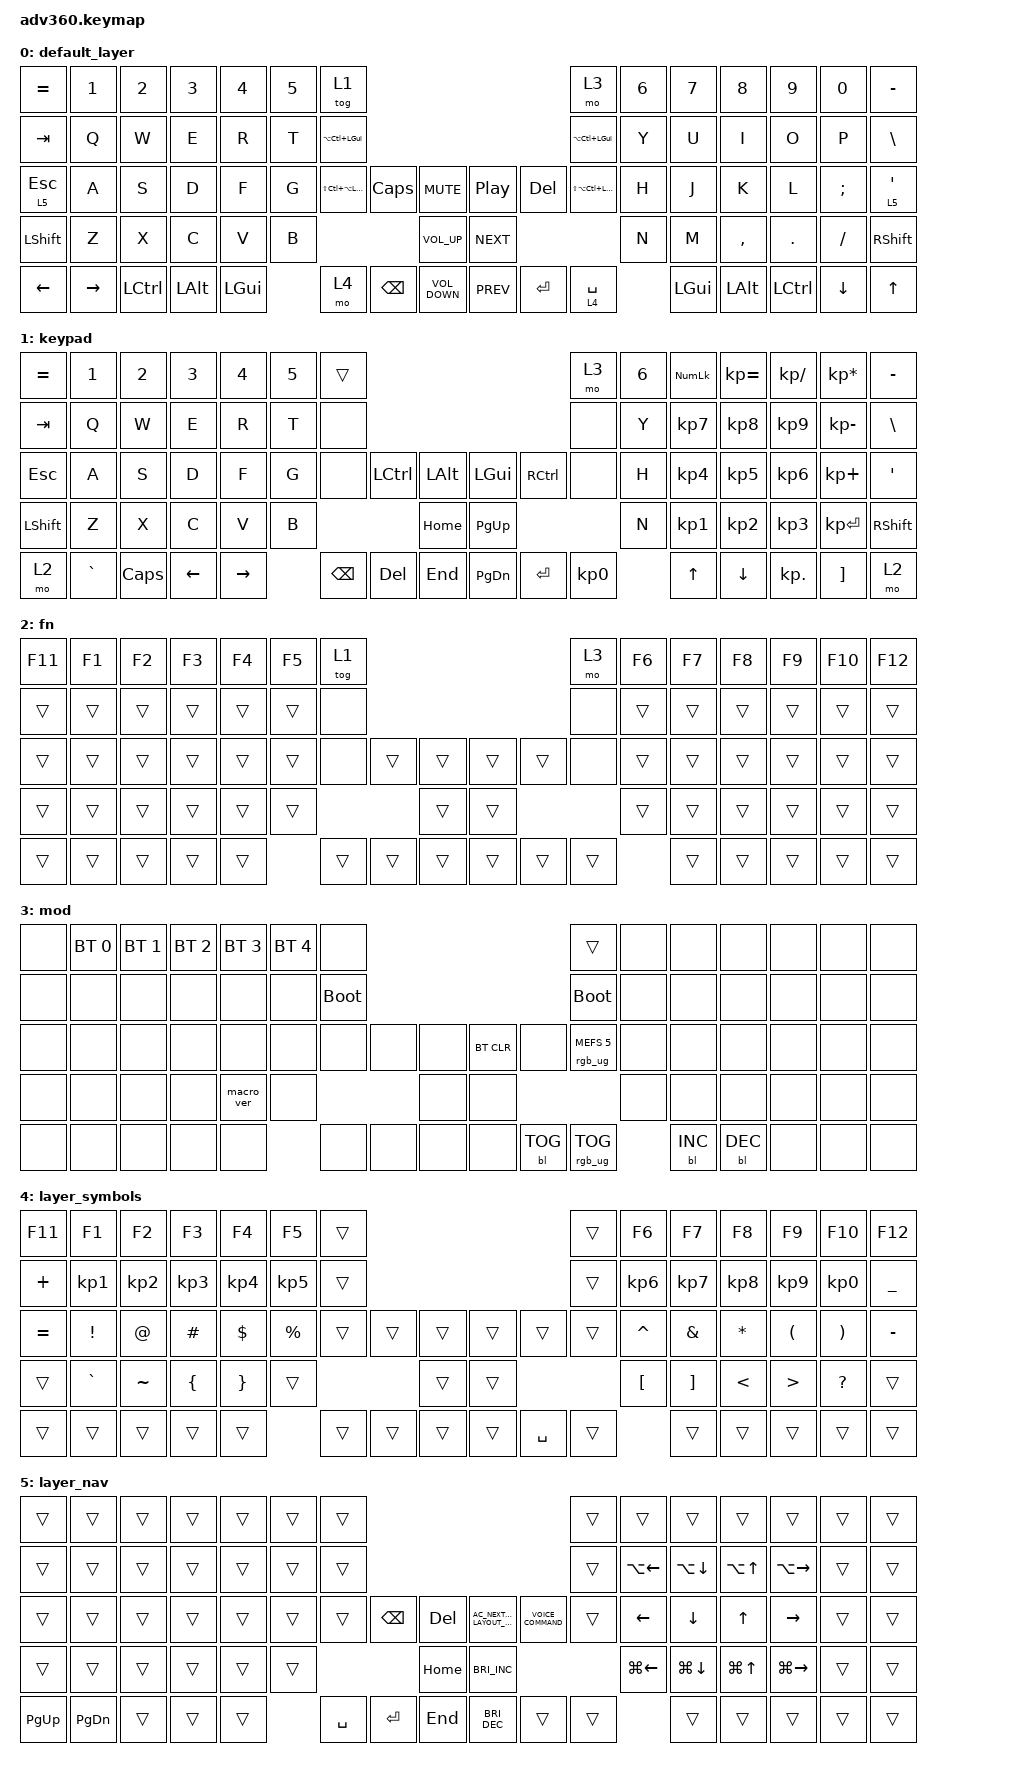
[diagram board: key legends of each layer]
#include <behaviors.dtsi>
#include <dt-bindings/zmk/backlight.h>
#include <dt-bindings/zmk/bt.h>
#include <dt-bindings/zmk/keys.h>
#include <dt-bindings/zmk/rgb.h>

/ {
    behaviors {
        #include "macros.dtsi"
      #include "version.dtsi"
      #ifndef VERSION_MACRO

        macro_ver: macro_ver {
            compatible = "zmk,behavior-macro";
            label = "macro_version";
            #binding-cells = <0>;
            bindings = <&kp RET>;
        };

        #endif

        hm: homerow_mods {
            compatible = "zmk,behavior-hold-tap";
            label = "HOMEROW_MODS";
            #binding-cells = <2>;
            tapping-term-ms = <200>;
            quick_tap_ms = <175>;
            flavor = "tap-preferred";
            bindings = <&kp>, <&kp>;
        };
    };

    macros {
    };

    keymap {
        compatible = "zmk,keymap";

        default_layer {
            bindings = <
&kp EQUAL       &kp N1           &kp N2     &kp N3        &kp N4        &kp N5  &tog 1                                                                                  &mo 3                     &kp N6  &kp N7        &kp N8        &kp N9     &kp N0          &kp MINUS
&kp TAB         &kp Q            &kp W      &kp E         &kp R         &kp T   &kp LA(LC(LEFT_GUI))                                                                    &kp LA(LC(LEFT_GUI))      &kp Y   &kp U         &kp I         &kp O      &kp P           &kp BSLH
&lt 5 ESCAPE    &kp A            &kp S      &kp D         &kp F         &kp G   &kp LS(LC(LA(LEFT_GUI)))  &kp CAPSLOCK   &kp C_MUTE             &kp C_PP    &kp DELETE  &kp LS(LA(LC(LEFT_GUI)))  &kp H   &kp J         &kp K         &kp L      &kp SEMI        &lt 5 SQT
&kp LSHFT       &kp Z            &kp X      &kp C         &kp V         &kp B                                            &kp C_VOLUME_UP        &kp C_NEXT                                        &kp N   &kp M         &kp COMMA     &kp DOT    &kp FSLH        &kp RSHFT
&kp LEFT_ARROW  &kp RIGHT_ARROW  &kp LCTRL  &kp LEFT_ALT  &kp LEFT_GUI          &mo 4                     &kp BACKSPACE  &kp C_VOLUME_DOWN      &kp C_PREV  &kp ENTER   &lt 4 SPACE                       &kp LEFT_GUI  &kp LEFT_ALT  &kp LCTRL  &kp DOWN_ARROW  &kp UP_ARROW
            >;
        };

        keypad {
            bindings = <
&kp EQUAL  &kp N1     &kp N2    &kp N3    &kp N4     &kp N5  &trans                                                   &mo 3      &kp N6  &kp KP_NUM  &kp KP_EQUAL  &kp KP_DIVIDE  &kp KP_MULTIPLY  &kp MINUS
&kp TAB    &kp Q      &kp W     &kp E     &kp R      &kp T   &none                                                    &none      &kp Y   &kp KP_N7   &kp KP_N8     &kp KP_N9      &kp KP_MINUS     &kp BSLH
&kp ESC    &kp A      &kp S     &kp D     &kp F      &kp G   &none     &kp LCTRL  &kp LALT      &kp LGUI   &kp RCTRL  &none      &kp H   &kp KP_N4   &kp KP_N5     &kp KP_N6      &kp KP_PLUS      &kp SQT
&kp LSHFT  &kp Z      &kp X     &kp C     &kp V      &kp B                        &kp HOME      &kp PG_UP                        &kp N   &kp KP_N1   &kp KP_N2     &kp KP_N3      &kp KP_ENTER     &kp RSHFT
&mo 2      &kp GRAVE  &kp CAPS  &kp LEFT  &kp RIGHT          &kp BSPC  &kp DEL    &kp END       &kp PG_DN  &kp ENTER  &kp KP_N0          &kp UP      &kp DOWN      &kp KP_DOT     &kp RBKT         &mo 2
            >;
        };

        fn {
            bindings = <
&kp F11  &kp F1  &kp F2  &kp F3  &kp F4  &kp F5  &tog 1                                      &mo 3   &kp F6  &kp F7  &kp F8  &kp F9  &kp F10  &kp F12
&trans   &trans  &trans  &trans  &trans  &trans  &none                                       &none   &trans  &trans  &trans  &trans  &trans   &trans
&trans   &trans  &trans  &trans  &trans  &trans  &none   &trans  &trans      &trans  &trans  &none   &trans  &trans  &trans  &trans  &trans   &trans
&trans   &trans  &trans  &trans  &trans  &trans                  &trans      &trans                  &trans  &trans  &trans  &trans  &trans   &trans
&trans   &trans  &trans  &trans  &trans          &trans  &trans  &trans      &trans  &trans  &trans          &trans  &trans  &trans  &trans   &trans
            >;
        };

        mod {
            bindings = <
&none  &bt BT_SEL 0  &bt BT_SEL 1  &bt BT_SEL 2  &bt BT_SEL 3  &bt BT_SEL 4  &none                                                  &trans                  &none  &none       &none       &none  &none  &none
&none  &none         &none         &none         &none         &none         &bootloader                                            &bootloader             &none  &none       &none       &none  &none  &none
&none  &none         &none         &none         &none         &none         &none        &none  &none      &bt BT_CLR  &none       &rgb_ug RGB_MEFS_CMD 5  &none  &none       &none       &none  &none  &none
&none  &none         &none         &none         &macro_ver    &none                             &none      &none                                           &none  &none       &none       &none  &none  &none
&none  &none         &none         &none         &none                       &none        &none  &none      &none       &bl BL_TOG  &rgb_ug RGB_TOG                &bl BL_INC  &bl BL_DEC  &none  &none  &none
            >;
        };

        layer_symbols {
            bindings = <
&kp F11    &kp F1           &kp F2           &kp F3           &kp F4           &kp F5           &trans                                         &trans  &kp F6            &kp F7             &kp F8           &kp F9                &kp F10                &kp F12
&kp PLUS   &kp KP_NUMBER_1  &kp KP_NUMBER_2  &kp KP_NUMBER_3  &kp KP_NUMBER_4  &kp KP_NUMBER_5  &trans                                         &trans  &kp KP_NUMBER_6   &kp KP_NUMBER_7    &kp KP_NUMBER_8  &kp KP_NUMBER_9       &kp KP_NUMBER_0        &kp UNDERSCORE
&kp EQUAL  &kp EXCLAMATION  &kp AT_SIGN      &kp HASH         &kp DOLLAR       &kp PERCENT      &trans  &trans  &trans      &trans  &trans     &trans  &kp CARET         &kp AMPERSAND      &kp ASTERISK     &kp LEFT_PARENTHESIS  &kp RIGHT_PARENTHESIS  &kp MINUS
&trans     &kp GRAVE        &kp TILDE        &kp LEFT_BRACE   &kp RIGHT_BRACE  &trans                           &trans      &trans                     &kp LEFT_BRACKET  &kp RIGHT_BRACKET  &kp LESS_THAN    &kp GREATER_THAN      &kp QUESTION           &trans
&trans     &trans           &trans           &trans           &trans                            &trans  &trans  &trans      &trans  &kp SPACE  &trans                    &trans             &trans           &trans                &trans                 &trans
            >;
        };

        layer_nav {
            bindings = <
&trans     &trans         &trans  &trans  &trans  &trans  &trans                                                                                               &trans  &trans              &trans              &trans            &trans               &trans  &trans
&trans     &trans         &trans  &trans  &trans  &trans  &trans                                                                                               &trans  &kp LA(LEFT_ARROW)  &kp LA(DOWN_ARROW)  &kp LA(UP_ARROW)  &kp LA(RIGHT_ARROW)  &trans  &trans
&trans     &trans         &trans  &trans  &trans  &trans  &trans     &kp BACKSPACE  &kp DELETE      &kp C_AC_NEXT_KEYBOARD_LAYOUT_SELECT  &kp C_VOICE_COMMAND  &trans  &kp LEFT_ARROW      &kp DOWN_ARROW      &kp UP_ARROW      &kp RIGHT_ARROW      &trans  &trans
&trans     &trans         &trans  &trans  &trans  &trans                            &kp HOME        &kp C_BRI_INC                                                      &kp LG(LEFT_ARROW)  &kp LG(DOWN_ARROW)  &kp LG(UP_ARROW)  &kp LG(RIGHT_ARROW)  &trans  &trans
&kp PG_UP  &kp PAGE_DOWN  &trans  &trans  &trans          &kp SPACE  &kp ENTER      &kp END         &kp C_BRIGHTNESS_DEC                  &trans               &trans                      &trans              &trans            &trans               &trans  &trans
            >;
        };
    };
};
